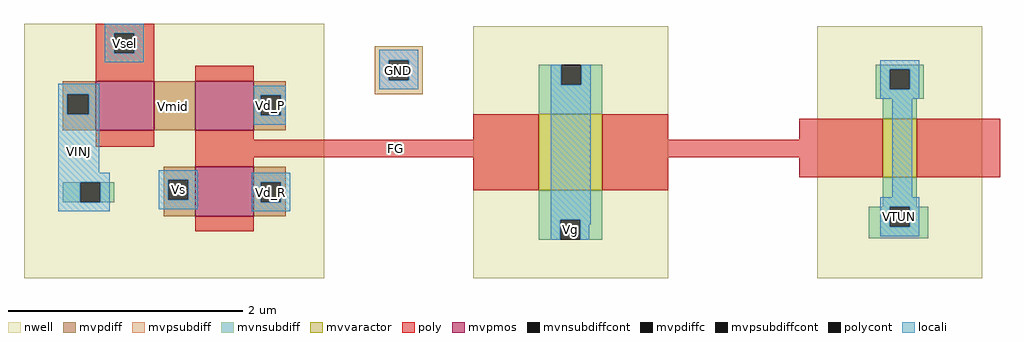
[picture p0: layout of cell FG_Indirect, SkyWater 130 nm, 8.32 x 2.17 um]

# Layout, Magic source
magic
tech sky130A
magscale 1 2
<< nwell >>
rect 1090 1176 1602 1610
rect 1856 1176 2188 1606
rect 2442 1176 2724 1606
<< mvpmos >>
rect 1212 1428 1312 1512
rect 1382 1428 1482 1512
rect 1382 1282 1482 1366
<< mvvaractor >>
rect 1968 1326 2076 1456
rect 2554 1348 2612 1448
<< mvpdiff >>
rect 1156 1490 1212 1512
rect 1156 1456 1164 1490
rect 1200 1456 1212 1490
rect 1156 1428 1212 1456
rect 1312 1428 1382 1512
rect 1482 1488 1536 1512
rect 1482 1454 1494 1488
rect 1528 1454 1536 1488
rect 1482 1428 1536 1454
rect 1328 1344 1382 1366
rect 1328 1310 1336 1344
rect 1370 1310 1382 1344
rect 1328 1282 1382 1310
rect 1482 1340 1536 1366
rect 1482 1306 1494 1340
rect 1528 1306 1536 1340
rect 1482 1282 1536 1306
<< mvpdiffc >>
rect 1164 1456 1200 1490
rect 1494 1454 1528 1488
rect 1336 1310 1370 1344
rect 1494 1306 1528 1340
<< mvpsubdiff >>
rect 1688 1548 1770 1572
rect 1688 1514 1712 1548
rect 1746 1514 1770 1548
rect 1688 1490 1770 1514
<< mvnsubdiff >>
rect 1968 1506 2006 1540
rect 2040 1506 2076 1540
rect 1968 1456 2076 1506
rect 2542 1532 2624 1540
rect 2542 1498 2566 1532
rect 2600 1498 2624 1532
rect 2542 1482 2624 1498
rect 1156 1306 1186 1340
rect 1220 1306 1244 1340
rect 2554 1448 2612 1482
rect 1968 1276 2076 1326
rect 2554 1298 2612 1348
rect 1968 1242 2004 1276
rect 2038 1242 2076 1276
rect 2530 1264 2566 1298
rect 2600 1264 2632 1298
rect 2530 1244 2632 1264
<< mvpsubdiffcont >>
rect 1712 1514 1746 1548
<< mvnsubdiffcont >>
rect 2006 1506 2040 1540
rect 2566 1498 2600 1532
rect 1186 1306 1220 1340
rect 2004 1242 2038 1276
rect 2566 1264 2600 1298
<< poly >>
rect 1212 1594 1312 1610
rect 1212 1560 1244 1594
rect 1278 1560 1312 1594
rect 1212 1512 1312 1560
rect 1382 1512 1482 1538
rect 1212 1400 1312 1428
rect 1382 1412 1482 1428
rect 1856 1412 1968 1456
rect 1382 1382 1968 1412
rect 1382 1366 1482 1382
rect 1856 1326 1968 1382
rect 2076 1412 2188 1456
rect 2412 1412 2554 1448
rect 2076 1382 2554 1412
rect 2076 1326 2188 1382
rect 2412 1348 2554 1382
rect 2612 1348 2754 1448
rect 1382 1256 1482 1282
<< polycont >>
rect 1244 1560 1278 1594
<< locali >>
rect 1228 1594 1294 1610
rect 1228 1560 1244 1594
rect 1278 1560 1294 1594
rect 1228 1544 1294 1560
rect 1696 1548 1762 1566
rect 1696 1514 1712 1548
rect 1746 1514 1762 1548
rect 1148 1490 1218 1508
rect 1148 1456 1164 1490
rect 1200 1456 1218 1490
rect 1148 1356 1218 1456
rect 1482 1488 1536 1504
rect 1696 1498 1762 1514
rect 1988 1506 2006 1540
rect 2040 1506 2056 1540
rect 1482 1454 1494 1488
rect 1528 1454 1536 1488
rect 1482 1438 1536 1454
rect 1148 1340 1236 1356
rect 1148 1306 1186 1340
rect 1220 1306 1236 1340
rect 1148 1290 1236 1306
rect 1320 1344 1386 1360
rect 1320 1310 1336 1344
rect 1370 1310 1386 1344
rect 1320 1294 1386 1310
rect 1478 1340 1544 1356
rect 1478 1306 1494 1340
rect 1528 1306 1544 1340
rect 1478 1290 1544 1306
rect 1988 1276 2056 1506
rect 2550 1532 2616 1548
rect 2550 1498 2566 1532
rect 2600 1498 2616 1532
rect 2550 1482 2616 1498
rect 2570 1314 2604 1482
rect 1988 1242 2004 1276
rect 2038 1268 2056 1276
rect 2550 1298 2616 1314
rect 2038 1242 2054 1268
rect 2550 1264 2566 1298
rect 2600 1264 2616 1298
rect 2550 1248 2616 1264
<< labels >>
flabel locali 2566 1264 2600 1298 0 FreeSans 160 0 0 0 VTUN
port 9 nsew
flabel locali 1712 1514 1746 1548 0 FreeSans 160 0 0 0 GND
port 12 nsew
flabel locali 2004 1242 2038 1276 0 FreeSans 160 0 0 0 Vg
port 7 nsew
flabel poly 1710 1382 1738 1412 0 FreeSans 160 0 0 0 FG
flabel mvpdiff 1334 1454 1356 1484 0 FreeSans 80 0 0 0 Vmid
flabel locali 1336 1310 1370 1344 0 FreeSans 160 0 0 0 Vs
port 6 nsew
flabel locali 1166 1376 1202 1410 0 FreeSans 160 0 0 0 VINJ
port 0 nsew
flabel polycont 1244 1560 1278 1594 0 FreeSans 160 0 0 0 Vsel
port 13 nsew
flabel mvpdiffc 1494 1306 1528 1340 0 FreeSans 160 0 0 0 Vd_R
port 16 nsew
flabel mvpdiffc 1494 1454 1528 1488 0 FreeSans 160 0 0 0 Vd_P
port 17 nsew
<< end >>
